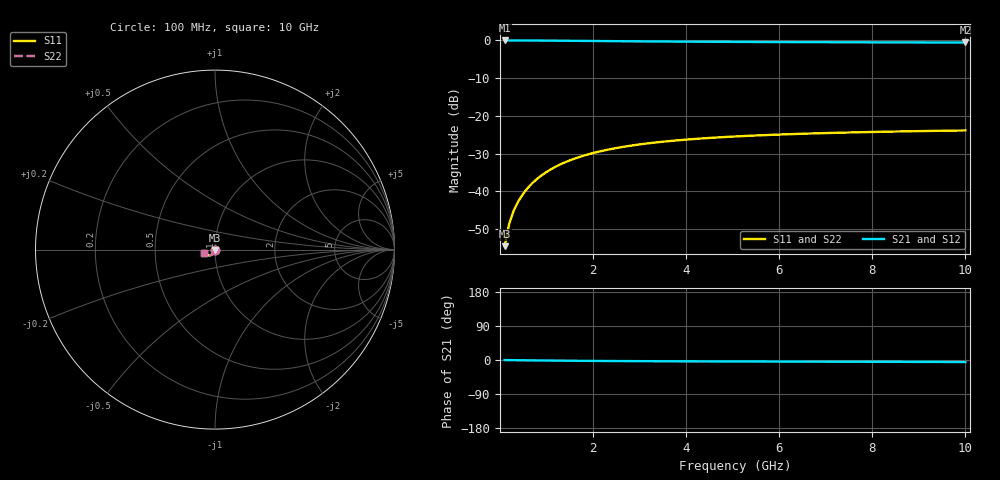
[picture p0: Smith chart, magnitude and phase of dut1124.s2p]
! Touchstone file exported from HFSS 2024.1.0
!  File:  C:/UserFiles/LocalFiles/RDL_TSV_Batchsim/temp_TSV1_1124_1780069300.aedt
!  Generated:  11:48:20 PM May 29, 2026
!  Design:  TSV1
!  Project:  temp_TSV1_1124_1780069300
!  Setup:  Setup1
!  Solution:  Sweep
! Variables:
!  dtsv = 14.59um
!  hbump = 3um
!  htsv = 80.55um
!  lrdl = 252.1521522um
!  p = 40
!  p1 = 49.78um
!  t = 500um
!  trdl = 3um
!  wrdl = 24.89489489um
# GHz S MA R 50.000000
! Terminal data exported
! Port[1] = TSV22_T1
! Port[2] = TSV22_T2
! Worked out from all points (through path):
!   100 points, 100 MHz to 10 GHz, reference 50 ohm
!   highest |S21| = 0.00 dB at 100 MHz (marker M1); lowest = -0.5 dB at 10 GHz (marker M2)
!   lowest |S11| = -54.5 dB at 100 MHz (marker M3), VSWR 1.00, Z = 50 - j0.187 ohm
!   |S11| at or under -10 dB: start of sweep to end of sweep
!   |S22| runs from -54.5 to -23.9 dB; largest |S21 - S12| = 4.1e-15
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0.1  0.001874 -89.2  0.9999 -0.2  0.9999 -0.2  0.001874 -89.2
! Gamma 0 0 0 0
! Port Impedance 50 0 50 0
0.2  0.003748 -92.0  0.9997 -0.3  0.9997 -0.3  0.003748 -92.0
0.3  0.005619 -94.1  0.9994 -0.4  0.9994 -0.4  0.005619 -94.1
0.4  0.007479 -96.0  0.999 -0.6  0.999 -0.6  0.007479 -96.0
0.5  0.009319 -97.8  0.9985 -0.7  0.9985 -0.7  0.009319 -97.8
0.6  0.01113 -99.6  0.9979 -0.9  0.9979 -0.9  0.01113 -99.6
0.7  0.01292 -101.3  0.9972 -1.0  0.9972 -1.0  0.01292 -101.3
0.8  0.01467 -103.0  0.9964 -1.1  0.9964 -1.1  0.01467 -103.0
0.9  0.01638 -104.7  0.9956 -1.3  0.9956 -1.3  0.01638 -104.7
1.1  0.01967 -107.9  0.9937 -1.5  0.9937 -1.5  0.01967 -107.9
1.4  0.02426 -112.4  0.9906 -1.9  0.9906 -1.9  0.02426 -112.4
1.6  0.02708 -115.2  0.9884 -2.1  0.9884 -2.1  0.02708 -115.2
1.8  0.02971 -117.9  0.9861 -2.2  0.9861 -2.2  0.02971 -117.9
2.1  0.0333 -121.6  0.9826 -2.5  0.9826 -2.5  0.0333 -121.6
2.5  0.03747 -126.0  0.9782 -2.8  0.9782 -2.8  0.03747 -126.0
2.9  0.04104 -129.9  0.9739 -3.0  0.9739 -3.0  0.04104 -129.9
3.4  0.04479 -134.1  0.9692 -3.3  0.9692 -3.3  0.04479 -134.1
4.2  0.04952 -139.7  0.9626 -3.6  0.9626 -3.6  0.04952 -139.7
5.1  0.05352 -144.7  0.9568 -3.9  0.9568 -3.9  0.05352 -144.7
6.7  0.05846 -151.4  0.9491 -4.4  0.9491 -4.4  0.05846 -151.4
8.4  0.06189 -156.7  0.9435 -4.9  0.9435 -4.9  0.06189 -156.7
10  0.06409 -160.5  0.9398 -5.3  0.9398 -5.3  0.06409 -160.5
